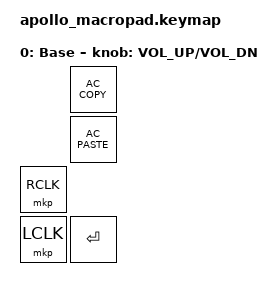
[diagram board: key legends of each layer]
#include <behaviors.dtsi>
#include <dt-bindings/zmk/keys.h>
#include <dt-bindings/zmk/bt.h>
#include <dt-bindings/zmk/pointing.h>
#include <dt-bindings/zmk/input_transform.h>

/* トラックボールの設定：シンプルにマウス移動のみ */
&trackball_listener {
    input-processors = <
        /* センサーの向き調整（上下が逆なら Y_INVERT、左右なら X_INVERT） */
        &zip_xy_transform (INPUT_TRANSFORM_Y_INVERT) 
    >;
};

/ {
    keymap {
        compatible = "zmk,keymap";

        base_layer {
            display-name = "Base";
            bindings = <
                /* SW1 (右) */  &kp C_AC_COPY    // コピー
                /* SW2 (右) */  &kp C_AC_PASTE   // ペースト
                /* SW3 (左) */  &mkp RCLK        // 右クリック
                /* SW4 (左・EC12押し) */  &mkp LCLK // 左クリック
                /* SW5 (右下) */  &kp ENTER      // エンター
            >;

            /* エンコーダーは常に音量調整 */
            sensor-bindings = <&inc_dec_kp C_VOL_UP C_VOL_DN>;
        };
    };
};
